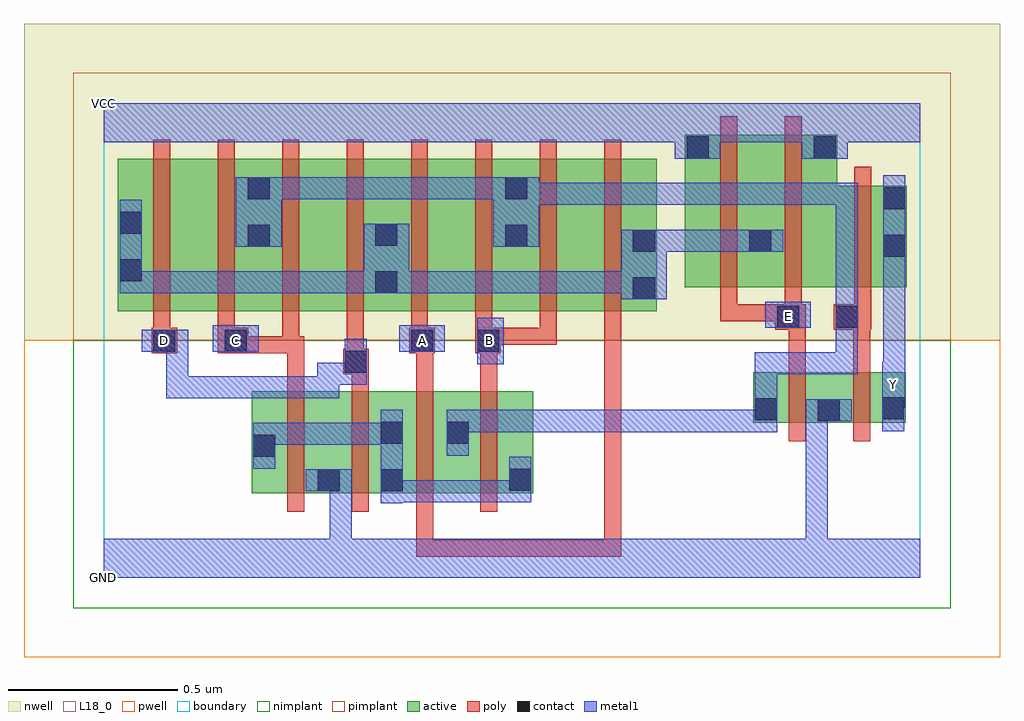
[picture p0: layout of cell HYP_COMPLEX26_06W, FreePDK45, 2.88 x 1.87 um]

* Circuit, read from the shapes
.subckt HYP_COMPLEX26_06W A B C D E GND VCC Y
M1 GND C n1 VSUBS nfet w=0.3u l=0.05u
M2 n1 D GND VSUBS nfet w=0.3u l=0.05u
M3 n2 A n1 VSUBS nfet w=0.3u l=0.05u
M4 n1 B n2 VSUBS nfet w=0.3u l=0.05u
M5 GND E n2 VSUBS nfet w=0.15u l=0.05u
M6 Y n2 GND VSUBS nfet w=0.15u l=0.05u
M7 n3 D n4 n5 pfet w=0.45u l=0.05u
M8 n2 C n3 n5 pfet w=0.45u l=0.05u
M9 n6 C n2 n5 pfet w=0.45u l=0.05u
M10 n4 D n6 n5 pfet w=0.45u l=0.05u
M11 n7 A n4 n5 pfet w=0.45u l=0.05u
M12 n2 B n7 n5 pfet w=0.45u l=0.05u
M13 n8 B n2 n5 pfet w=0.45u l=0.05u
M14 n4 A n8 n5 pfet w=0.45u l=0.05u
M15 n4 E VCC n5 pfet w=0.45u l=0.05u m=2
M16 Y n2 VCC n5 pfet w=0.3u l=0.05u
.ends

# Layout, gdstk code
import gdstk
lib = gdstk.Library(unit=1e-6, precision=1e-09)
def R(c, l, rs):  # rectangles x0, y0, x1, y1
    for r in rs: c.add(gdstk.rectangle(r[:2], r[2:], *l))
def A(c, l, x, y, w, h, nx, ny, dx, dy):  # array of equal rectangles
    R(c, l, [(x+i*dx, y+j*dy, x+i*dx+w, y+j*dy+h) for i in range(nx) for j in range(ny)])
active = (1, 0)
pwell = (2, 0)
nwell = (3, 0)
nimplant = (4, 0)
pimplant = (5, 0)
poly = (9, 0)
contact = (10, 0)
metal1 = (11, 0)
L18_0 = (18, 0)
boundary = (235, 0)

hyp_complex26_06w = lib.new_cell('HYP_COMPLEX26_06W')
R(hyp_complex26_06w, active, [(0.437,0.25,0.702,0.55), (0.627,0.25,0.887,0.55), (0.627,0.25,0.702,0.392), (0.812,0.25,1.082,0.55), (0.812,0.25,0.887,0.465), (1.007,0.25,1.267,0.55), (1.192,0.25,1.267,0.55), (1.007,0.33,1.082,0.465), (0.437,0.345,0.512,0.55), (1.917,0.457,2.177,0.607), (1.917,0.457,1.992,0.607), (2.102,0.457,2.367,0.607), (2.102,0.457,2.177,0.547), (2.292,0.462,2.367,0.607), (0.042,0.787,0.267,1.237), (0.042,0.787,0.147,1.2), (0.267,0.787,0.495,1.237), (0.42,0.787,0.647,1.237), (0.42,0.787,0.495,1.2), (0.647,0.787,0.872,1.237), (0.797,0.787,1.027,1.237), (0.797,0.787,0.872,1.07), (1.027,0.787,1.255,1.237), (1.18,0.787,1.407,1.237), (1.407,0.787,1.632,1.237), (1.557,0.787,1.632,1.047), (1.18,0.827,1.255,1.2), (1.715,0.857,1.975,1.307), (1.715,0.857,1.79,1.307), (1.9,0.857,2.165,1.307), (1.9,0.857,1.975,1.07), (2.09,0.857,2.37,1.157), (2.295,0.857,2.37,1.157), (2.09,0.96,2.165,1.307)])
R(hyp_complex26_06w, pwell, [(-0.235,-0.235,2.645,0.7)])
R(hyp_complex26_06w, nwell, [(-0.235,0.7,2.645,1.635)])
R(hyp_complex26_06w, nimplant, [(-0.09,-0.09,2.5,0.7)])
R(hyp_complex26_06w, pimplant, [(-0.09,0.7,2.5,1.49)])
A(hyp_complex26_06w, poly, 0.542, 0.195, 0.05, 0.41, 4, 1, 0.19, 0)
A(hyp_complex26_06w, poly, 0.907, 0.687, 0.05, 0.095, 3, 1, 0.19, 0)
A(hyp_complex26_06w, poly, 0.147, 0.732, 0.05, 0.56, 8, 1, 0.19, 0)
R(hyp_complex26_06w, poly, [(0.922,0.062,0.972,0.112), (0.922,0.062,0.972,0.112), (0.922,0.062,0.972,0.112), (0.922,0.062,1.105,0.112), (0.922,0.062,0.972,0.245), (1.055,0.062,1.105,0.112), (1.055,0.062,1.395,0.112), (1.345,0.062,1.395,0.112), (1.345,0.062,1.395,0.112), (1.345,0.062,1.395,0.112), (1.345,0.062,1.527,0.112), (1.477,0.062,1.527,0.112), (1.477,0.062,1.527,0.112), (1.477,0.062,1.527,0.112), (1.477,0.062,1.527,0.112), (1.477,0.062,1.527,0.112), (1.477,0.062,1.527,0.112), (1.477,0.062,1.527,0.112), (1.477,0.062,1.527,0.112), (1.477,0.062,1.527,0.112), (1.477,0.062,1.527,0.112), (1.477,0.062,1.527,0.112), (1.477,0.062,1.527,0.782), (2.022,0.402,2.072,0.662), (2.212,0.402,2.262,0.662), (0.542,0.555,0.592,0.712), (0.732,0.555,0.782,0.65), (0.922,0.555,0.972,0.712), (1.112,0.555,1.162,0.712), (0.707,0.6,0.782,0.675), (2.022,0.612,2.072,0.782), (2.212,0.612,2.262,0.782), (0.717,0.625,0.767,0.782), (0.142,0.662,0.217,0.737), (0.337,0.662,0.427,0.737), (0.377,0.662,0.427,0.712), (0.377,0.662,0.427,0.712), (0.377,0.662,0.577,0.712), (0.527,0.662,0.577,0.782), (0.527,0.662,0.592,0.712), (0.902,0.662,0.977,0.737), (1.097,0.662,1.172,0.737), (0.147,0.687,0.197,0.782), (0.337,0.687,0.387,0.782), (1.122,0.687,1.337,0.737), (1.287,0.687,1.337,0.737), (1.287,0.687,1.337,0.737), (1.287,0.687,1.337,0.737), (1.982,0.732,2.072,0.807), (2.155,0.732,2.265,0.807), (1.82,0.757,1.87,0.852), (1.82,0.757,1.87,0.807), (1.82,0.757,2.032,0.807), (1.982,0.757,2.032,0.807), (1.982,0.757,2.032,0.807), (2.01,0.757,2.06,0.852), (2.215,0.757,2.265,0.852), (1.82,0.802,1.87,1.362), (2.01,0.802,2.06,1.362), (2.215,0.802,2.265,1.212)])
R(hyp_complex26_06w, contact, [(0.632,0.255,0.697,0.32), (0.817,0.255,0.882,0.32), (1.197,0.257,1.262,0.322), (0.442,0.357,0.507,0.422), (0.817,0.395,0.882,0.46), (1.012,0.395,1.077,0.46), (2.107,0.462,2.172,0.527), (1.922,0.465,1.987,0.53), (2.297,0.467,2.362,0.532), (0.712,0.605,0.777,0.67), (0.147,0.667,0.212,0.732), (0.357,0.667,0.422,0.732), (0.907,0.667,0.972,0.732), (1.102,0.667,1.167,0.732), (1.987,0.737,2.052,0.802), (2.16,0.737,2.225,0.802), (1.562,0.822,1.627,0.887), (0.802,0.84,0.867,0.905), (0.047,0.875,0.112,0.94), (2.3,0.947,2.365,1.012), (1.562,0.962,1.627,1.027), (1.905,0.962,1.97,1.027), (0.425,0.977,0.49,1.042), (1.185,0.977,1.25,1.042), (0.802,0.98,0.867,1.045), (0.047,1.015,0.112,1.08), (2.3,1.087,2.365,1.152), (0.425,1.117,0.49,1.182), (1.185,1.117,1.25,1.182), (1.72,1.237,1.785,1.302), (2.095,1.237,2.16,1.302)])
R(hyp_complex26_06w, metal1, [(0,0,2.41,0.115), (0.667,0.05,0.732,0.32), (2.072,0.05,2.137,0.115), (2.072,0.05,2.137,0.115), (2.072,0.05,2.137,0.527), (0.817,0.22,0.882,0.495), (0.817,0.222,0.882,0.287), (0.817,0.222,0.882,0.287), (0.817,0.222,1.04,0.287), (0.975,0.222,1.04,0.287), (0.975,0.222,1.04,0.287), (0.975,0.222,1.04,0.287), (0.975,0.222,1.262,0.287), (1.197,0.222,1.262,0.357), (0.597,0.255,0.732,0.32), (0.667,0.255,0.732,0.32), (0.667,0.255,0.732,0.32), (0.667,0.255,0.732,0.32), (0.667,0.255,0.732,0.32), (0.442,0.322,0.507,0.457), (1.012,0.36,1.077,0.495), (0.442,0.392,0.525,0.457), (0.46,0.392,0.525,0.457), (0.46,0.392,0.695,0.457), (0.63,0.392,0.695,0.457), (0.63,0.392,0.695,0.457), (0.63,0.392,0.695,0.457), (0.63,0.392,0.882,0.457), (1.012,0.43,1.285,0.495), (1.22,0.43,1.285,0.495), (1.22,0.43,1.285,0.495), (1.22,0.43,1.285,0.495), (1.22,0.43,1.422,0.495), (1.357,0.43,1.422,0.495), (1.357,0.43,1.422,0.495), (1.357,0.43,1.422,0.495), (1.357,0.43,1.56,0.495), (1.495,0.43,1.56,0.495), (1.495,0.43,1.697,0.495), (1.632,0.43,1.697,0.495), (1.632,0.43,1.697,0.495), (1.632,0.43,1.697,0.495), (1.632,0.43,1.835,0.495), (1.77,0.43,1.835,0.495), (1.77,0.43,1.987,0.495), (1.922,0.43,1.987,0.565), (2.297,0.432,2.362,0.567), (2.072,0.462,2.137,0.527), (2.072,0.462,2.137,0.527), (2.072,0.462,2.137,0.527), (2.072,0.462,2.137,0.527), (2.072,0.462,2.207,0.527), (1.922,0.5,1.987,0.565), (1.922,0.5,1.987,0.665), (2.297,0.502,2.362,0.567), (2.297,0.502,2.365,0.637), (0.185,0.53,0.25,0.595), (0.185,0.53,0.387,0.595), (0.185,0.53,0.25,0.732), (0.322,0.53,0.387,0.595), (0.322,0.53,0.387,0.595), (0.322,0.53,0.387,0.595), (0.322,0.53,0.557,0.595), (0.492,0.53,0.557,0.595), (0.492,0.53,0.695,0.595), (0.63,0.53,0.695,0.595), (0.63,0.53,0.695,0.635), (0.63,0.57,0.695,0.635), (0.63,0.57,0.777,0.635), (0.712,0.57,0.777,0.705), (2.3,0.572,2.365,0.977), (1.922,0.6,2.225,0.665), (2.16,0.6,2.225,0.665), (2.16,0.6,2.225,0.837), (1.102,0.63,1.18,0.767), (0.112,0.667,0.247,0.732), (0.182,0.667,0.25,0.732), (0.185,0.667,0.25,0.732), (0.322,0.667,0.457,0.745), (0.872,0.667,1.007,0.745), (2.16,0.702,2.225,0.837), (1.952,0.737,2.087,0.815), (2.16,0.772,2.225,0.837), (2.16,0.772,2.225,0.837), (2.16,0.772,2.225,1.165), (1.527,0.822,1.662,1.027), (0.047,0.84,0.112,1.115), (0.047,0.84,0.112,0.905), (0.047,0.84,0.112,0.905), (0.047,0.84,0.25,0.905), (0.185,0.84,0.25,0.905), (0.185,0.84,0.387,0.905), (0.322,0.84,0.387,0.905), (0.322,0.84,0.387,0.905), (0.322,0.84,0.387,0.905), (0.322,0.84,0.525,0.905), (0.46,0.84,0.525,0.905), (0.46,0.84,0.695,0.905), (0.63,0.84,0.695,0.905), (0.63,0.84,0.695,0.905), (0.63,0.84,0.695,0.905), (0.63,0.84,0.832,0.905), (0.767,0.84,0.902,1.045), (0.837,0.84,0.902,0.905), (0.837,0.84,0.902,0.905), (0.837,0.84,1.077,0.905), (1.012,0.84,1.077,0.905), (1.012,0.84,1.077,0.905), (1.012,0.84,1.077,0.905), (1.012,0.84,1.215,0.905), (1.15,0.84,1.215,0.905), (1.15,0.84,1.422,0.905), (1.357,0.84,1.422,0.905), (1.357,0.84,1.422,0.905), (1.357,0.84,1.422,0.905), (1.357,0.84,1.56,0.905), (1.495,0.84,1.56,0.905), (1.495,0.84,1.592,0.905), (2.3,0.912,2.365,1.187), (1.597,0.962,1.697,1.027), (1.632,0.962,1.697,1.027), (1.632,0.962,1.85,1.027), (1.785,0.962,1.85,1.027), (1.785,0.962,1.935,1.027), (1.87,0.962,2.005,1.027), (0.39,0.977,0.525,1.182), (1.15,0.977,1.285,1.182), (1.22,1.1,1.422,1.165), (1.357,1.1,1.422,1.165), (1.357,1.1,1.422,1.165), (1.357,1.1,1.422,1.165), (1.357,1.1,1.56,1.165), (1.495,1.1,1.56,1.165), (1.495,1.1,1.56,1.165), (1.495,1.1,1.56,1.165), (1.495,1.1,1.712,1.165), (1.647,1.1,1.712,1.165), (1.647,1.1,1.835,1.165), (1.77,1.1,1.835,1.165), (1.77,1.1,1.987,1.165), (1.922,1.1,1.987,1.165), (1.922,1.1,1.987,1.165), (1.922,1.1,1.987,1.165), (1.922,1.1,2.225,1.165), (2.16,1.1,2.225,1.165), (2.16,1.1,2.225,1.165), (2.16,1.1,2.225,1.165), (0.46,1.117,0.525,1.182), (0.46,1.117,0.525,1.182), (0.46,1.117,0.662,1.182), (0.597,1.117,0.662,1.182), (0.597,1.117,0.745,1.182), (0.68,1.117,0.745,1.182), (0.68,1.117,0.882,1.182), (0.817,1.117,0.882,1.182), (0.817,1.117,0.882,1.182), (0.817,1.117,0.882,1.182), (0.817,1.117,1.04,1.182), (0.975,1.117,1.04,1.182), (0.975,1.117,1.215,1.182), (1.15,1.117,1.215,1.182), (1.15,1.117,1.215,1.182), (1.685,1.237,1.82,1.302), (1.755,1.237,1.82,1.35), (2.06,1.237,2.195,1.302), (2.13,1.237,2.195,1.35), (0,1.285,2.41,1.4)])
R(hyp_complex26_06w, L18_0, [(0,0,2.41,0.115), (0.667,0.05,0.732,0.32), (2.072,0.05,2.137,0.115), (2.072,0.05,2.137,0.115), (2.072,0.05,2.137,0.527), (0.597,0.255,0.732,0.32), (0.667,0.255,0.732,0.32), (0.667,0.255,0.732,0.32), (0.667,0.255,0.732,0.32), (0.667,0.255,0.732,0.32), (2.297,0.432,2.362,0.567), (2.072,0.462,2.207,0.527), (2.072,0.462,2.137,0.527), (2.072,0.462,2.137,0.527), (2.072,0.462,2.137,0.527), (2.072,0.462,2.137,0.527), (2.297,0.502,2.362,0.567), (2.297,0.502,2.365,0.637), (0.185,0.53,0.25,0.595), (0.185,0.53,0.25,0.732), (0.185,0.53,0.387,0.595), (0.322,0.53,0.387,0.595), (0.322,0.53,0.387,0.595), (0.322,0.53,0.387,0.595), (0.322,0.53,0.557,0.595), (0.492,0.53,0.557,0.595), (0.492,0.53,0.695,0.595), (0.63,0.53,0.695,0.595), (0.63,0.53,0.695,0.635), (2.297,0.537,2.362,0.602), (0.63,0.57,0.695,0.635), (0.63,0.57,0.777,0.635), (0.712,0.57,0.777,0.705), (2.3,0.572,2.365,0.977), (1.102,0.63,1.18,0.767), (0.112,0.667,0.247,0.732), (0.147,0.667,0.212,0.732), (0.182,0.667,0.25,0.732), (0.185,0.667,0.25,0.732), (0.322,0.667,0.457,0.745), (0.357,0.667,0.422,0.732), (0.872,0.667,1.007,0.745), (0.907,0.667,0.972,0.732), (1.107,0.667,1.172,0.732), (1.952,0.737,2.087,0.815), (1.987,0.737,2.052,0.802), (2.3,0.912,2.365,1.187), (1.685,1.237,1.82,1.302), (1.755,1.237,1.82,1.35), (2.06,1.237,2.195,1.302), (2.13,1.237,2.195,1.35), (0,1.285,2.41,1.4)])
R(hyp_complex26_06w, boundary, [(0,0,2.41,1.4)])
hyp_complex26_06w.add(gdstk.Label('A', (0.94,0.7), layer=11, texttype=0))
hyp_complex26_06w.add(gdstk.Label('B', (1.14,0.7), layer=11, texttype=0))
hyp_complex26_06w.add(gdstk.Label('C', (0.39,0.7), layer=11, texttype=0))
hyp_complex26_06w.add(gdstk.Label('D', (0.18,0.7), layer=11, texttype=0))
hyp_complex26_06w.add(gdstk.Label('E', (2.02,0.77), layer=11, texttype=0))
hyp_complex26_06w.add(gdstk.Label('Y', (2.33,0.57), layer=11, texttype=0))
hyp_complex26_06w.add(gdstk.Label('VCC', (0,1.4), layer=11, texttype=0))
hyp_complex26_06w.add(gdstk.Label('GND', (0,0), layer=11, texttype=0))

lib.write_gds('HYP_COMPLEX26_06W.gds')
